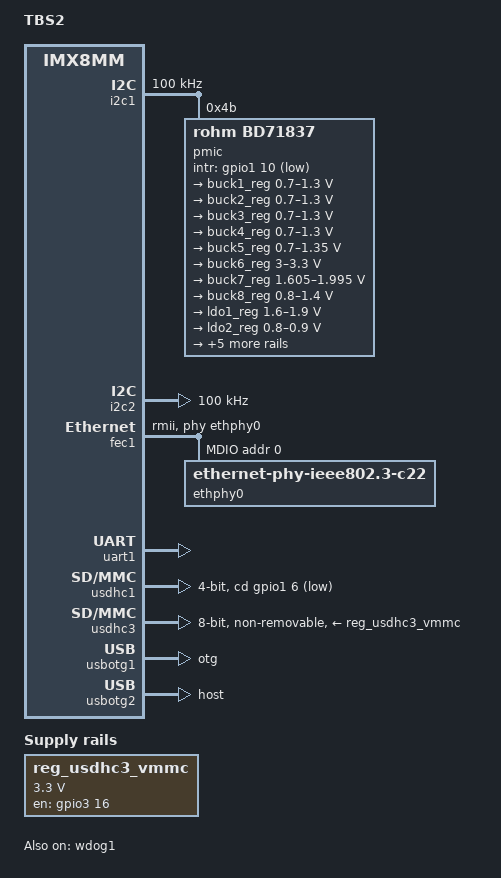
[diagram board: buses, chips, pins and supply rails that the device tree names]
/*
* Copyright 2019-2020 F&S Elektronik Systeme GmbH
*
* This program is free software; you can redistribute it and/or
* modify it under the terms of the GNU General Public License
* as published by the Free Software Foundation; either version 2
* of the License, or (at your option) any later version.
*
* This program is distributed in the hope that it will be useful,
* but WITHOUT ANY WARRANTY; without even the implied warranty of
* MERCHANTABILITY or FITNESS FOR A PARTICULAR PURPOSE.  See the
* GNU General Public License for more details.
*/

/dts-v1/;

#include "fsl-imx8mm.dtsi"

/ {
	model = "TBS2";
	compatible = "fus,tbs2", "fsl,imx8mm";


	chosen {
		bootargs = "console=ttymxc0,115200 earlycon=ec_imx6q,0x30860000,115200";
		stdout-path = &uart1;
	};

	reg_usdhc3_vmmc: regulator-usdhc3 {
		compatible = "regulator-fixed";
		regulator-name = "VSD3_3V3";
		regulator-min-microvolt = <3300000>;
		regulator-max-microvolt = <3300000>;
		gpio = <&gpio3 16 GPIO_ACTIVE_HIGH>;
		enable-active-high;
		startup-delay-us = <100>;
		off-on-delay-us = <12000>;
	};
};

&i2c1 {
	clock-frequency = <100000>;
	pinctrl-names = "default";
	pinctrl-0 = <&pinctrl_i2c1>;
	status = "okay";

pmic: bd71837@4b {
		reg = <0x4b>;
		compatible = "rohm,bd71837";
		/* PMIC BD71837 PMIC_nINT GPIO3_IO24 */
		pinctrl-0 = <&pinctrl_pmic>;
		gpio_intr = <&gpio1 10 GPIO_ACTIVE_LOW>;

		gpo {
			rohm,drv = <0x0C>;	/* 0b0000_1100 all gpos with cmos output mode */
		};

		regulators {
			#address-cells = <1>;
			#size-cells = <0>;

			bd71837,pmic-buck2-uses-i2c-dvs;
			bd71837,pmic-buck2-dvs-voltage = <1000000>, <900000>, <0>; /* VDD_ARM: Run-Idle */

			buck1_reg: regulator@0 {
				reg = <0>;
				regulator-compatible = "buck1";
				regulator-min-microvolt = <700000>;
				regulator-max-microvolt = <1300000>;
				regulator-boot-on;
				regulator-always-on;
				regulator-ramp-delay = <1250>;
			};

			buck2_reg: regulator@1 {
				reg = <1>;
				regulator-compatible = "buck2";
				regulator-min-microvolt = <700000>;
				regulator-max-microvolt = <1300000>;
				regulator-boot-on;
				regulator-always-on;
				regulator-ramp-delay = <1250>;
			};

			buck3_reg: regulator@2 {
				reg = <2>;
				regulator-compatible = "buck3";
				regulator-min-microvolt = <700000>;
				regulator-max-microvolt = <1300000>;
			};

			buck4_reg: regulator@3 {
				reg = <3>;
				regulator-compatible = "buck4";
				regulator-min-microvolt = <700000>;
				regulator-max-microvolt = <1300000>;
			};

			buck5_reg: regulator@4 {
				reg = <4>;
				regulator-compatible = "buck5";
				regulator-min-microvolt = <700000>;
				regulator-max-microvolt = <1350000>;
				regulator-boot-on;
				regulator-always-on;
			};

			buck6_reg: regulator@5 {
				reg = <5>;
				regulator-compatible = "buck6";
				regulator-min-microvolt = <3000000>;
				regulator-max-microvolt = <3300000>;
				regulator-boot-on;
				regulator-always-on;
			};

			buck7_reg: regulator@6 {
				reg = <6>;
				regulator-compatible = "buck7";
				regulator-min-microvolt = <1605000>;
				regulator-max-microvolt = <1995000>;
				regulator-boot-on;
				regulator-always-on;
			};

			buck8_reg: regulator@7 {
				reg = <7>;
				regulator-compatible = "buck8";
				regulator-min-microvolt = <800000>;
				regulator-max-microvolt = <1400000>;
				regulator-boot-on;
				regulator-always-on;
			};

			ldo1_reg: regulator@8 {
				reg = <8>;
				regulator-compatible = "ldo1";
				regulator-min-microvolt = <1600000>;
				regulator-max-microvolt = <1900000>;
				regulator-boot-on;
				regulator-always-on;
			};

			ldo2_reg: regulator@9 {
				reg = <9>;
				regulator-compatible = "ldo2";
				regulator-min-microvolt = <800000>;
				regulator-max-microvolt = <900000>;
				regulator-boot-on;
				regulator-always-on;
			};

			ldo3_reg: regulator@10 {
				reg = <10>;
				regulator-compatible = "ldo3";
				regulator-min-microvolt = <1800000>;
				regulator-max-microvolt = <3300000>;
				regulator-boot-on;
				regulator-always-on;
			};

			ldo4_reg: regulator@11 {
				reg = <11>;
				regulator-compatible = "ldo4";
				regulator-min-microvolt = <900000>;
				regulator-max-microvolt = <1800000>;
				regulator-boot-on;
				regulator-always-on;
			};

			ldo5_reg: regulator@12 {
				reg = <12>;
				regulator-compatible = "ldo5";
				regulator-min-microvolt = <1800000>;
				regulator-max-microvolt = <3300000>;
			};

			ldo6_reg: regulator@13 {
				reg = <13>;
				regulator-compatible = "ldo6";
				regulator-min-microvolt = <900000>;
				regulator-max-microvolt = <1800000>;
				regulator-boot-on;
				regulator-always-on;
			};

			ldo7_reg: regulator@14 {
				reg = <14>;
				regulator-compatible = "ldo7";
				regulator-min-microvolt = <1800000>;
				regulator-max-microvolt = <3300000>;
			};
		};
	};
};

&i2c2 {
	clock-frequency = <100000>;
	pinctrl-names = "default";
	pinctrl-0 = <&pinctrl_i2c2>;
	status = "okay";
};


&fec1 {
	pinctrl-names = "default";
	pinctrl-0 = <&pinctrl_fec1>;
	phy-mode = "rmii";
	phy-handle = <&ethphy0>;
	fsl,magic-packet;
	status = "okay";

	mdio {
		#address-cells = <1>;
		#size-cells = <0>;

		ethphy0: ethernet-phy@0 {
			compatible = "ethernet-phy-ieee802.3-c22";
			reg = <0>;
		};
	};
};

&uart1 { /* console */
	pinctrl-names = "default";
	pinctrl-0 = <&pinctrl_uart1>;
	status = "okay";
};

/* micro SD */
&usdhc1 {
	pinctrl-names = "default", "state_100mhz", "state_200mhz";
	pinctrl-0 = <&pinctrl_usdhc1>, <&pinctrl_usdhc1_gpio>;
	pinctrl-1 = <&pinctrl_usdhc1_100mhz>, <&pinctrl_usdhc1_gpio>;
	pinctrl-2 = <&pinctrl_usdhc1_200mhz>, <&pinctrl_usdhc1_gpio>;
	bus-width = <4>;
	cd-gpios = <&gpio1 6 GPIO_ACTIVE_LOW>;
	status = "okay";
};

/* WLAN */
&usdhc2 {
	pinctrl-names = "default", "state_100mhz", "state_200mhz";
	pinctrl-0 = <&pinctrl_usdhc2>, <&pinctrl_usdhc2_gpio>;
	pinctrl-1 = <&pinctrl_usdhc2_100mhz>, <&pinctrl_usdhc2_gpio>;
	pinctrl-2 = <&pinctrl_usdhc2_200mhz>, <&pinctrl_usdhc2_gpio>;
	bus-width = <4>;
	//vmmc-supply = <&reg_usdhc2_vmmc>;
	status = "disabled";
};

/* eMMC */
&usdhc3 {
	pinctrl-names = "default", "state_100mhz", "state_200mhz";
	pinctrl-0 = <&pinctrl_usdhc3>;
	pinctrl-1 = <&pinctrl_usdhc3_100mhz>;
	pinctrl-2 = <&pinctrl_usdhc3_200mhz>;
	bus-width = <8>;
	non-removable;
	vmmc-supply = <&reg_usdhc3_vmmc>;
	status = "okay";
};

&wdog1 {
	pinctrl-names = "default";
	pinctrl-0 = <&pinctrl_wdog>;
	fsl,ext-reset-output;
	status = "okay";
};

&A53_0 {
	arm-supply = <&buck2_reg>;
};

&usbotg1 {
	dr_mode = "otg";
	pinctrl-names = "default";
	pinctrl-0 = <&pinctrl_usbotg1>;
	status = "okay";
};

&usbotg2 {
	dr_mode = "host";
	status = "okay";
};

&lcdif {
	status = "disabled";
};

&iomuxc {
	pinctrl-names = "default";
	pinctrl-0 = <&pinctrl_hog_1>;

	tbs2 {
		pinctrl_hog_1: hoggrp-1 {
			fsl,pins = <
			MX8MM_IOMUXC_NAND_READY_B_GPIO3_IO16		0x00019
			>;
		};

		pinctrl_fec1: fec1grp {
			fsl,pins = <
			MX8MM_IOMUXC_ENET_MDC_ENET1_MDC				0x00003
			MX8MM_IOMUXC_ENET_MDIO_ENET1_MDIO			0x00003
			MX8MM_IOMUXC_ENET_TD2_ENET1_TX_CLK			0x4000001f
			MX8MM_IOMUXC_ENET_TD1_ENET1_RGMII_TD1		0x00056
			MX8MM_IOMUXC_ENET_TD0_ENET1_RGMII_TD0		0x00056
			MX8MM_IOMUXC_ENET_RD1_ENET1_RGMII_RD1		0x00056
			MX8MM_IOMUXC_ENET_RD0_ENET1_RGMII_RD0		0x00056
			MX8MM_IOMUXC_ENET_RXC_ENET1_RX_ER			0x00056
			MX8MM_IOMUXC_ENET_RX_CTL_ENET1_RGMII_RX_CTL	0x00056
			MX8MM_IOMUXC_ENET_TX_CTL_ENET1_RGMII_TX_CTL	0x00056
			/* IRQn */
			MX8MM_IOMUXC_GPIO1_IO11_GPIO1_IO11			0x00019
			>;
		};

		pinctrl_i2c1: i2c1grp {
			fsl,pins = <
			MX8MM_IOMUXC_I2C1_SCL_I2C1_SCL				0x400001c3
			MX8MM_IOMUXC_I2C1_SDA_I2C1_SDA				0x400001c3
			>;
		};

		pinctrl_i2c2: i2c2grp {
			fsl,pins = <
			MX8MM_IOMUXC_I2C2_SCL_I2C2_SCL				0x400001c3
			MX8MM_IOMUXC_I2C2_SDA_I2C2_SDA				0x400001c3
			>;
		};

		pinctrl_pmic: pmicirq {
			fsl,pins = <
			MX8MM_IOMUXC_GPIO1_IO10_GPIO1_IO10			0x00041
			>;
		};

		pinctrl_uart1: uart1grp {
			fsl,pins = <
			MX8MM_IOMUXC_SAI2_RXC_UART1_DCE_RX			0x00049
			MX8MM_IOMUXC_SAI2_RXFS_UART1_DCE_TX			0x00049
			>;
		};

		pinctrl_usbotg1: usbotg1grp {
			fsl,pins = <
			MX8MM_IOMUXC_GPIO1_IO12_USB1_OTG_PWR		0x00014
			>;
		};

		pinctrl_usdhc1_gpio: usdhc1grpgpio {
			fsl,pins = <
			MX8MM_IOMUXC_GPIO1_IO06_USDHC1_CD_B			0x00041
			>;
		};

		pinctrl_usdhc1: usdhc1grp {
			fsl,pins = <
			MX8MM_IOMUXC_SD1_CLK_USDHC1_CLK				0x00190
			MX8MM_IOMUXC_SD1_CMD_USDHC1_CMD				0x001d0
			MX8MM_IOMUXC_SD1_DATA0_USDHC1_DATA0			0x001d0
			MX8MM_IOMUXC_SD1_DATA1_USDHC1_DATA1			0x001d0
			MX8MM_IOMUXC_SD1_DATA2_USDHC1_DATA2			0x001d0
			MX8MM_IOMUXC_SD1_DATA3_USDHC1_DATA3			0x001d0
			MX8MM_IOMUXC_GPIO1_IO03_USDHC1_VSELECT		0x001d0
			>;
		};

		pinctrl_usdhc1_100mhz: usdhc1grp100mhz {
			fsl,pins = <
			MX8MM_IOMUXC_SD1_CLK_USDHC1_CLK				0x00194
			MX8MM_IOMUXC_SD1_CMD_USDHC1_CMD				0x001d4
			MX8MM_IOMUXC_SD1_DATA0_USDHC1_DATA0			0x001d4
			MX8MM_IOMUXC_SD1_DATA1_USDHC1_DATA1			0x001d4
			MX8MM_IOMUXC_SD1_DATA2_USDHC1_DATA2			0x001d4
			MX8MM_IOMUXC_SD1_DATA3_USDHC1_DATA3			0x001d4
			MX8MM_IOMUXC_GPIO1_IO03_USDHC1_VSELECT		0x001d0
			>;
		};

		pinctrl_usdhc1_200mhz: usdhc1grp200mhz {
			fsl,pins = <
			MX8MM_IOMUXC_SD1_CLK_USDHC1_CLK				0x00196
			MX8MM_IOMUXC_SD1_CMD_USDHC1_CMD				0x001d6
			MX8MM_IOMUXC_SD1_DATA0_USDHC1_DATA0			0x001d6
			MX8MM_IOMUXC_SD1_DATA1_USDHC1_DATA1			0x001d6
			MX8MM_IOMUXC_SD1_DATA2_USDHC1_DATA2			0x001d6
			MX8MM_IOMUXC_SD1_DATA3_USDHC1_DATA3			0x001d6
			MX8MM_IOMUXC_GPIO1_IO03_USDHC1_VSELECT		0x001d0
			>;
		};

		pinctrl_usdhc2_gpio: usdhc2grpgpio {
			fsl,pins = <
			MX8MM_IOMUXC_SD2_CD_B_GPIO2_IO12  			0x00041
			MX8MM_IOMUXC_SD2_RESET_B_GPIO2_IO19			0x00041
			>;
		};

		pinctrl_usdhc2: usdhc2grp {
			fsl,pins = <
			MX8MM_IOMUXC_SD2_CLK_USDHC2_CLK				0x00190
			MX8MM_IOMUXC_SD2_CMD_USDHC2_CMD				0x001d0
			MX8MM_IOMUXC_SD2_DATA0_USDHC2_DATA0			0x001d0
			MX8MM_IOMUXC_SD2_DATA1_USDHC2_DATA1			0x001d0
			MX8MM_IOMUXC_SD2_DATA2_USDHC2_DATA2			0x001d0
			MX8MM_IOMUXC_SD2_DATA3_USDHC2_DATA3			0x001d0
			MX8MM_IOMUXC_GPIO1_IO04_USDHC2_VSELECT		0x001d0
			>;
		};

		pinctrl_usdhc2_100mhz: usdhc2grp100mhz {
			fsl,pins = <
			MX8MM_IOMUXC_SD2_CLK_USDHC2_CLK				0x00194
			MX8MM_IOMUXC_SD2_CMD_USDHC2_CMD				0x001d4
			MX8MM_IOMUXC_SD2_DATA0_USDHC2_DATA0			0x001d4
			MX8MM_IOMUXC_SD2_DATA1_USDHC2_DATA1			0x001d4
			MX8MM_IOMUXC_SD2_DATA2_USDHC2_DATA2			0x001d4
			MX8MM_IOMUXC_SD2_DATA3_USDHC2_DATA3			0x001d4
			MX8MM_IOMUXC_GPIO1_IO04_USDHC2_VSELECT		0x001d0
			>;
		};

		pinctrl_usdhc2_200mhz: usdhc2grp200mhz {
			fsl,pins = <
			MX8MM_IOMUXC_SD2_CLK_USDHC2_CLK				0x00196
			MX8MM_IOMUXC_SD2_CMD_USDHC2_CMD				0x001d6
			MX8MM_IOMUXC_SD2_DATA0_USDHC2_DATA0			0x001d6
			MX8MM_IOMUXC_SD2_DATA1_USDHC2_DATA1			0x001d6
			MX8MM_IOMUXC_SD2_DATA2_USDHC2_DATA2			0x001d6
			MX8MM_IOMUXC_SD2_DATA3_USDHC2_DATA3			0x001d6
			MX8MM_IOMUXC_GPIO1_IO04_USDHC2_VSELECT		0x001d0
			>;
		};

		pinctrl_usdhc3: usdhc3grp {
			fsl,pins = <
			MX8MM_IOMUXC_NAND_WE_B_USDHC3_CLK			0x40000190
			MX8MM_IOMUXC_NAND_WP_B_USDHC3_CMD			0x001d0
			MX8MM_IOMUXC_NAND_DATA04_USDHC3_DATA0		0x001d0
			MX8MM_IOMUXC_NAND_DATA05_USDHC3_DATA1		0x001d0
			MX8MM_IOMUXC_NAND_DATA06_USDHC3_DATA2		0x001d0
			MX8MM_IOMUXC_NAND_DATA07_USDHC3_DATA3		0x001d0
			MX8MM_IOMUXC_NAND_RE_B_USDHC3_DATA4			0x001d0
			MX8MM_IOMUXC_NAND_CE2_B_USDHC3_DATA5		0x001d0
			MX8MM_IOMUXC_NAND_CE3_B_USDHC3_DATA6		0x001d0
			MX8MM_IOMUXC_NAND_CLE_USDHC3_DATA7			0x001d0
			MX8MM_IOMUXC_NAND_CE1_B_USDHC3_STROBE 		0x00190
			>;
		};

		pinctrl_usdhc3_100mhz: usdhc3grp100mhz {
			fsl,pins = <
			MX8MM_IOMUXC_NAND_WE_B_USDHC3_CLK			0x40000194
			MX8MM_IOMUXC_NAND_WP_B_USDHC3_CMD			0x001d4
			MX8MM_IOMUXC_NAND_DATA04_USDHC3_DATA0		0x001d4
			MX8MM_IOMUXC_NAND_DATA05_USDHC3_DATA1		0x001d4
			MX8MM_IOMUXC_NAND_DATA06_USDHC3_DATA2		0x001d4
			MX8MM_IOMUXC_NAND_DATA07_USDHC3_DATA3		0x001d4
			MX8MM_IOMUXC_NAND_RE_B_USDHC3_DATA4			0x001d4
			MX8MM_IOMUXC_NAND_CE2_B_USDHC3_DATA5		0x001d4
			MX8MM_IOMUXC_NAND_CE3_B_USDHC3_DATA6		0x001d4
			MX8MM_IOMUXC_NAND_CLE_USDHC3_DATA7			0x001d4
			MX8MM_IOMUXC_NAND_CE1_B_USDHC3_STROBE 		0x00194
			>;
		};

		pinctrl_usdhc3_200mhz: usdhc3grp200mhz {
			fsl,pins = <
			MX8MM_IOMUXC_NAND_WE_B_USDHC3_CLK			0x40000196
			MX8MM_IOMUXC_NAND_WP_B_USDHC3_CMD			0x001d6
			MX8MM_IOMUXC_NAND_DATA04_USDHC3_DATA0		0x001d6
			MX8MM_IOMUXC_NAND_DATA05_USDHC3_DATA1		0x001d6
			MX8MM_IOMUXC_NAND_DATA06_USDHC3_DATA2		0x001d6
			MX8MM_IOMUXC_NAND_DATA07_USDHC3_DATA3		0x001d6
			MX8MM_IOMUXC_NAND_RE_B_USDHC3_DATA4			0x001d6
			MX8MM_IOMUXC_NAND_CE2_B_USDHC3_DATA5		0x001d6
			MX8MM_IOMUXC_NAND_CE3_B_USDHC3_DATA6		0x001d6
			MX8MM_IOMUXC_NAND_CLE_USDHC3_DATA7			0x001d6
			MX8MM_IOMUXC_NAND_CE1_B_USDHC3_STROBE 		0x00196
			>;
		};

		pinctrl_wdog: wdoggrp {
			fsl,pins = <
			MX8MM_IOMUXC_GPIO1_IO02_WDOG1_WDOG_B		0x000c6
			>;
		};
	};
};
